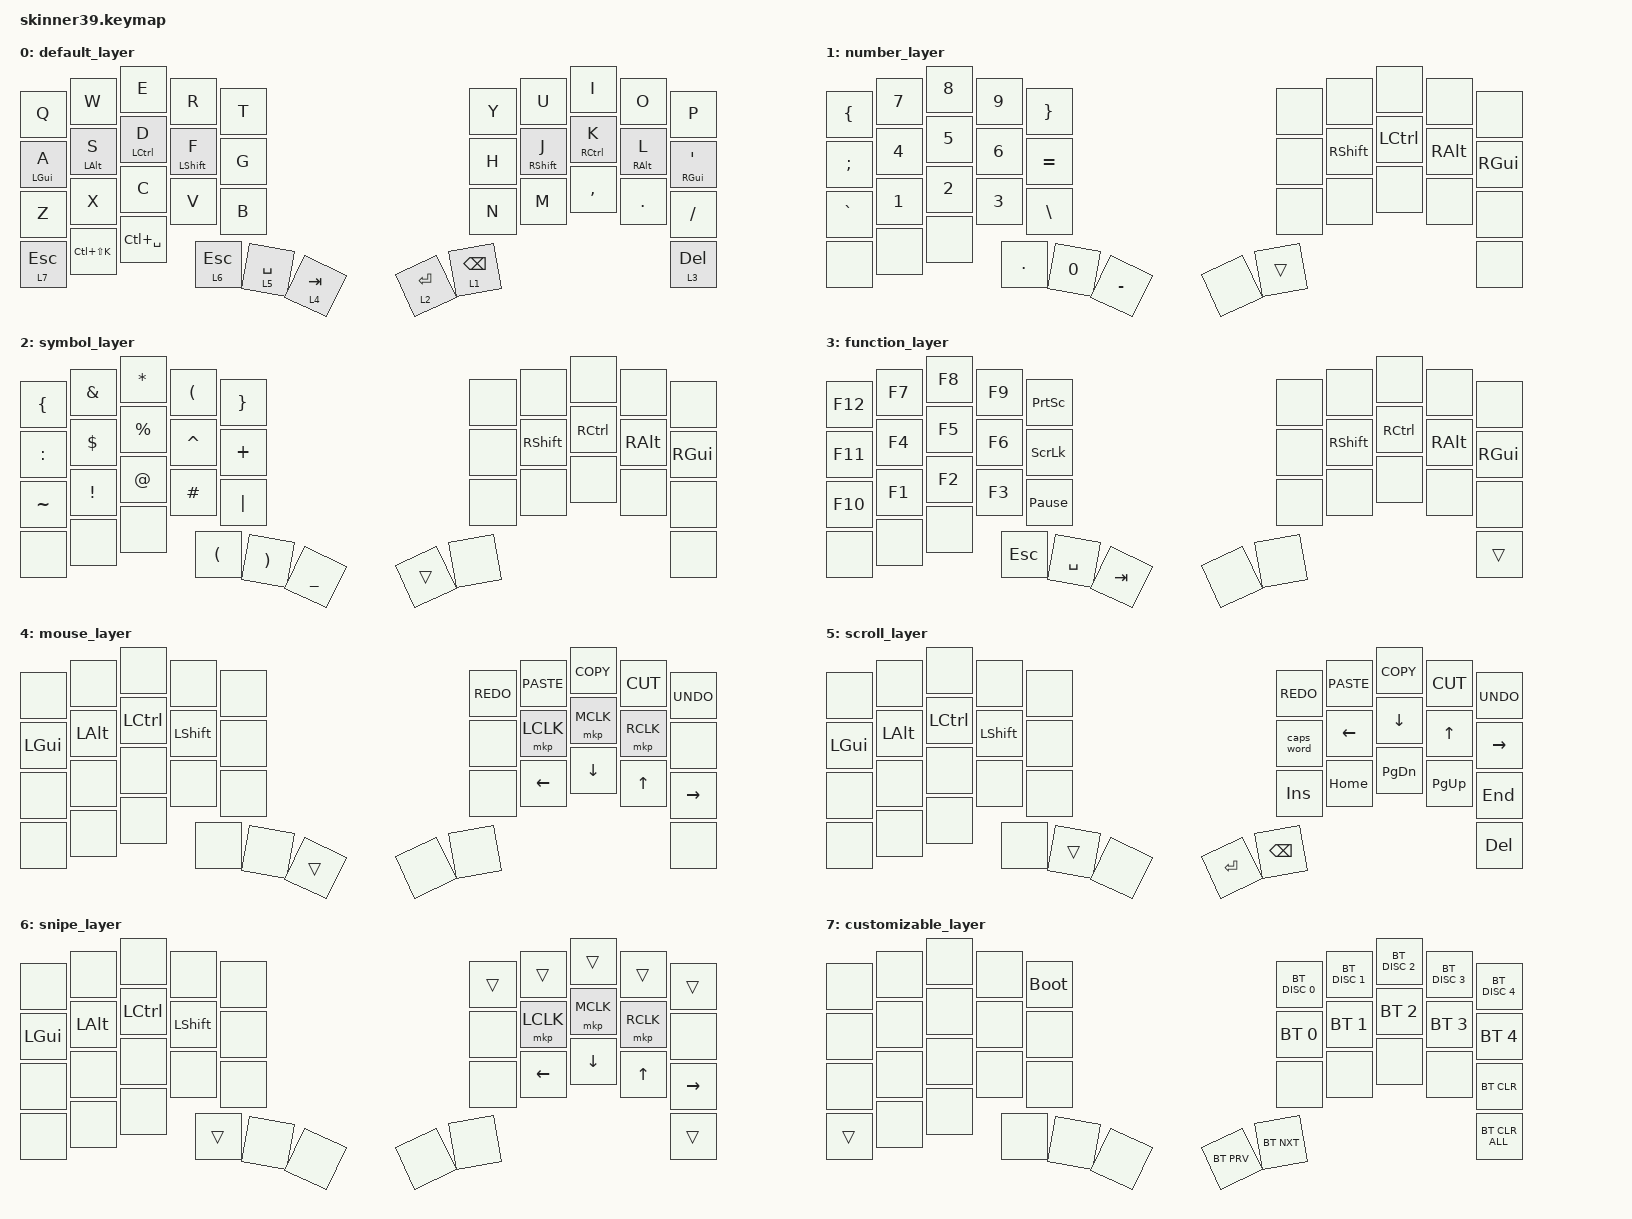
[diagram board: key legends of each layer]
#include <behaviors.dtsi>
#include <dt-bindings/zmk/bt.h>
#include <dt-bindings/zmk/keys.h>
#include <dt-bindings/zmk/pointing.h>

/ {
    behaviors {
        hml: home_row_mod_left {
            compatible = "zmk,behavior-hold-tap";
            bindings = <&kp>, <&kp>;

            #binding-cells = <2>;
            flavor = "balanced";
            tapping-term-ms = <280>;
            quick-tap-ms = <175>;
            require-prior-idle-ms = <125>;
            hold-trigger-key-positions = <5 15 25 26 16 6 7 17 27 28 18 8 9 19 29 38 37 36>;
            hold-trigger-on-release;
        };

        hmr: home_row_mod_right {
            compatible = "zmk,behavior-hold-tap";
            bindings = <&kp>, <&kp>;

            #binding-cells = <2>;
            tapping-term-ms = <280>;
            quick-tap-ms = <175>;
            require-prior-idle-ms = <125>;
            hold-trigger-key-positions = <0 1 2 3 4 10 11 12 13 14 20 21 22 23 24 30 31 32 33 34 35>;
            flavor = "balanced";
            hold-trigger-on-release;
        };
    };

    keymap {
        compatible = "zmk,keymap";

        default_layer {
            bindings = <
  &kp Q            &kp W            &kp E                &kp R              &kp T                                &kp Y            &kp U               &kp I                 &kp O             &kp P
  &hml LEFT_GUI A  &hml LEFT_ALT S  &hml LEFT_CONTROL D  &hml LEFT_SHIFT F  &kp G                                &kp H            &hmr RIGHT_SHIFT J  &hmr RIGHT_CONTROL K  &hmr RIGHT_ALT L  &hmr RIGHT_GUI APOSTROPHE
  &kp Z            &kp X            &kp C                &kp V              &kp B                                &kp N            &kp M               &kp COMMA             &kp PERIOD        &kp SLASH
  &lt 7 ESCAPE     &kp LC(LS(K))    &kp LC(SPACE)        &lt 6 ESCAPE       &lt 5 SPACE  &lt 4 TAB  &lt 2 ENTER  &lt 1 BACKSPACE                                                              &lt 3 DELETE
            >;
        };

        number_layer {
            bindings = <
  &kp LEFT_BRACE  &kp NUMBER_7  &kp NUMBER_8  &kp NUMBER_9  &kp RIGHT_BRACE                    &none   &none            &none             &none          &none
  &kp SEMI        &kp NUMBER_4  &kp NUMBER_5  &kp NUMBER_6  &kp EQUAL                          &none   &kp RIGHT_SHIFT  &kp LEFT_CONTROL  &kp RIGHT_ALT  &kp RIGHT_GUI
  &kp GRAVE       &kp NUMBER_1  &kp NUMBER_2  &kp NUMBER_3  &kp BACKSLASH                      &none   &none            &none             &none          &none
  &none           &none         &none         &kp PERIOD    &kp NUMBER_0     &kp MINUS  &none  &trans                                                    &none
            >;
        };

        symbol_layer {
            bindings = <
  &kp LEFT_BRACE  &kp AMPS    &kp ASTRK    &kp LEFT_PARENTHESIS  &kp RIGHT_BRACE                           &none  &none            &none              &none          &none
  &kp COLON       &kp DOLLAR  &kp PERCENT  &kp CARET             &kp PLUS                                  &none  &kp RIGHT_SHIFT  &kp RIGHT_CONTROL  &kp RIGHT_ALT  &kp RIGHT_GUI
  &kp TILDE       &kp EXCL    &kp AT       &kp POUND             &kp PIPE                                  &none  &none            &none              &none          &none
  &none           &none       &none        &kp LEFT_PARENTHESIS  &kp RIGHT_PARENTHESIS  &kp UNDER  &trans  &none                                                     &none
            >;
        };

        function_layer {
            bindings = <
  &kp F12  &kp F7  &kp F8  &kp F9      &kp PRINTSCREEN                  &none  &none            &none              &none          &none
  &kp F11  &kp F4  &kp F5  &kp F6      &kp SCROLLLOCK                   &none  &kp RIGHT_SHIFT  &kp RIGHT_CONTROL  &kp RIGHT_ALT  &kp RIGHT_GUI
  &kp F10  &kp F1  &kp F2  &kp F3      &kp PAUSE_BREAK                  &none  &none            &none              &none          &none
  &none    &none   &none   &kp ESCAPE  &kp SPACE        &kp TAB  &none  &none                                                     &trans
            >;
        };

        mouse_layer {
            bindings = <
  &none         &none         &none             &none           &none                 &kp K_REDO  &kp K_PASTE  &kp K_COPY  &kp K_CUT  &kp K_UNDO
  &kp LEFT_GUI  &kp LEFT_ALT  &kp LEFT_CONTROL  &kp LEFT_SHIFT  &none                 &none       &mkp LCLK    &mkp MCLK   &mkp RCLK  &none
  &none         &none         &none             &none           &none                 &none       &kp LEFT     &kp DOWN    &kp UP     &kp RIGHT
  &none         &none         &none             &none           &none  &trans  &none  &none                                           &none
            >;
        };

        scroll_layer {
            bindings = <
  &none         &none         &none             &none           &none                     &kp K_REDO     &kp K_PASTE     &kp K_COPY      &kp K_CUT     &kp K_UNDO
  &kp LEFT_GUI  &kp LEFT_ALT  &kp LEFT_CONTROL  &kp LEFT_SHIFT  &none                     &caps_word     &kp LEFT_ARROW  &kp DOWN_ARROW  &kp UP_ARROW  &kp RIGHT_ARROW
  &none         &none         &none             &none           &none                     &kp INSERT     &kp HOME        &kp PAGE_DOWN   &kp PAGE_UP   &kp END
  &none         &none         &none             &none           &trans  &none  &kp ENTER  &kp BACKSPACE                                                &kp DELETE
            >;
        };

        snipe_layer {
            bindings = <
  &none         &none         &none             &none           &none                &trans  &trans     &trans     &trans     &trans
  &kp LEFT_GUI  &kp LEFT_ALT  &kp LEFT_CONTROL  &kp LEFT_SHIFT  &none                &none   &mkp LCLK  &mkp MCLK  &mkp RCLK  &none
  &none         &none         &none             &none           &none                &none   &kp LEFT   &kp DOWN   &kp UP     &kp RIGHT
  &none         &none         &none             &trans          &none  &none  &none  &none                                    &trans
            >;
        };

        customizable_layer {
            bindings = <
  &none   &none  &none  &none  &bootloader                     &bt BT_DISC 0  &bt BT_DISC 1  &bt BT_DISC 2  &bt BT_DISC 3  &bt BT_DISC 4
  &none   &none  &none  &none  &none                           &bt BT_SEL 0   &bt BT_SEL 1   &bt BT_SEL 2   &bt BT_SEL 3   &bt BT_SEL 4
  &none   &none  &none  &none  &none                           &none          &none          &none          &none          &bt BT_CLR
  &trans  &none  &none  &none  &none        &none  &bt BT_PRV  &bt BT_NXT                                                  &bt BT_CLR_ALL
            >;
        };
    };
};
